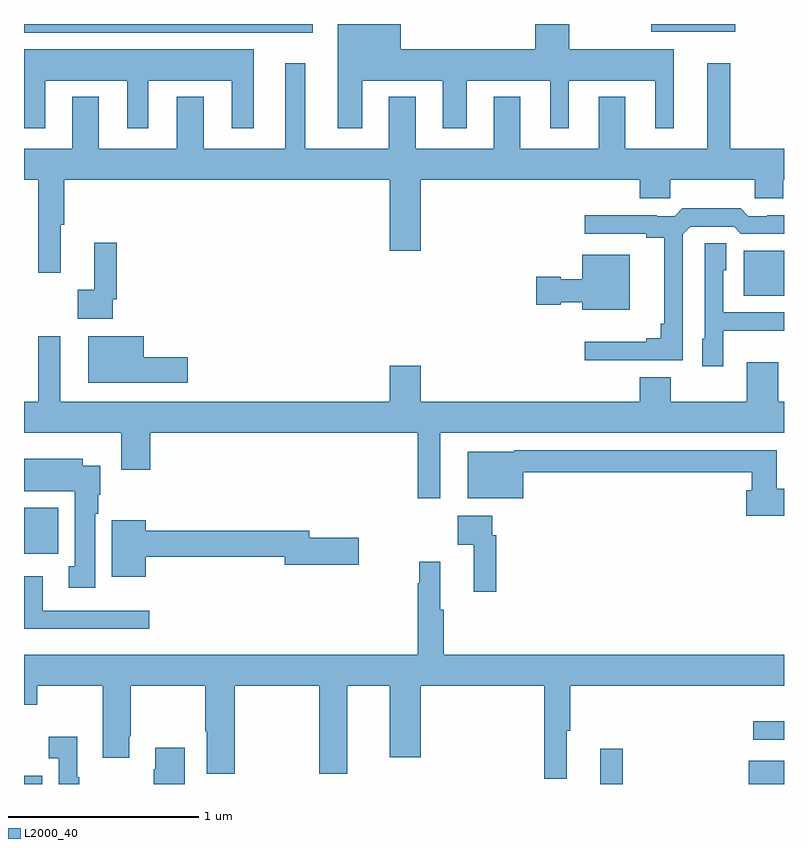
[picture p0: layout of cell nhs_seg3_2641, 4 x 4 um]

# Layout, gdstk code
import gdstk
lib = gdstk.Library(unit=1e-6, precision=1e-09)
def R(c, l, rs):  # rectangles x0, y0, x1, y1
    for r in rs: c.add(gdstk.rectangle(r[:2], r[2:], *l))
def P(c, l, *ps):  # polygons
    for p in ps: c.add(gdstk.Polygon(p, *l))
L2000_40 = (2000, 40)

nhs_seg3_2641 = lib.new_cell('nhs_seg3_2641')
R(nhs_seg3_2641, L2000_40, [(247,700.4,247.097,700.443), (250.034,700.4,250.151,700.585), (250.814,700.4,251,700.522), (250.839,700.632,251,700.73), (247,701.612,247.18,701.854), (250.787,702.971,251,703.207), (247,704.354,248.521,704.4), (250.302,704.36,250.744,704.4)])
P(nhs_seg3_2641, L2000_40, [(248.779,704.102),(249.203,704.102),(249.203,703.851),(249.331,703.851),(249.331,704.102),(249.77,704.102),(249.77,703.851),(249.868,703.851),(249.868,704.102),(250.322,704.102),(250.322,703.851),(250.42,703.851),(250.42,704.266),(249.87,704.266),(249.87,704.4),(249.692,704.4),(249.692,704.266),(248.983,704.266),(248.983,704.4),(248.651,704.4),(248.651,703.851),(248.779,703.851)],
  [(247.111,704.102),(247.544,704.102),(247.544,703.851),(247.654,703.851),(247.654,704.102),(248.093,704.102),(248.093,703.851),(248.209,703.851),(248.209,704.266),(247,704.266),(247,703.851),(247.111,703.851)],
  [(250.717,704.194),(250.595,704.194),(250.595,703.744),(250.165,703.744),(250.165,704.017),(250.025,704.017),(250.025,703.744),(249.613,703.744),(249.613,704.017),(249.473,704.017),(249.473,703.744),(249.061,703.744),(249.061,704.017),(248.921,704.017),(248.921,703.744),(248.479,703.744),(248.479,704.194),(248.375,704.194),(248.375,703.744),(247.945,703.744),(247.945,704.017),(247.805,704.017),(247.805,703.744),(247.393,703.744),(247.393,704.017),(247.253,704.017),(247.253,703.744),(247,703.744),(247,703.58),(247.075,703.58),(247.075,703.092),(247.193,703.092),(247.193,703.344),(247.211,703.344),(247.211,703.58),(248.924,703.58),(248.924,703.206),(249.088,703.206),(249.088,703.58),(250.241,703.58),(250.241,703.482),(250.401,703.482),(250.401,703.58),(250.846,703.58),(250.846,703.482),(250.996,703.482),(250.996,703.58),(251,703.58),(251,703.744),(250.717,703.744)],
  [(250.467,703.293),(250.506,703.332),(250.737,703.332),(250.773,703.296),(251,703.296),(251,703.394),(250.912,703.394),(250.912,703.389),(250.812,703.389),(250.773,703.429),(250.465,703.429),(250.425,703.389),(250.331,703.389),(250.331,703.394),(249.951,703.394),(249.951,703.296),(250.274,703.296),(250.274,703.274),(250.37,703.274),(250.37,702.823),(250.351,702.823),(250.351,702.746),(250.274,702.746),(250.274,702.727),(249.951,702.727),(249.951,702.63),(250.467,702.63)],
  [(247.467,702.952),(247.487,702.952),(247.487,703.249),(247.37,703.249),(247.37,703.001),(247.284,703.001),(247.284,702.848),(247.467,702.848)],
  [(250.68,702.785),(250.997,702.785),(250.997,702.786),(251,702.786),(251,702.882),(250.68,702.882),(250.68,703.104),(250.696,703.104),(250.696,703.247),(250.584,703.247),(250.584,702.744),(250.571,702.744),(250.571,702.6),(250.68,702.6)],
  [(250.189,703.186),(249.938,703.186),(249.938,703.057),(249.825,703.057),(249.825,703.07),(249.696,703.07),(249.696,702.923),(249.825,702.923),(249.825,702.935),(249.938,702.935),(249.938,702.896),(250.189,702.896)],
  [(247.861,702.647),(247.63,702.647),(247.63,702.757),(247.337,702.757),(247.337,702.512),(247.861,702.512)],
  [(249.19,702.248),(251,702.248),(251,702.412),(250.969,702.412),(250.969,702.619),(250.805,702.619),(250.805,702.412),(250.405,702.412),(250.405,702.541),(250.241,702.541),(250.241,702.412),(249.088,702.412),(249.088,702.601),(248.924,702.601),(248.924,702.412),(247.192,702.412),(247.192,702.757),(247.075,702.757),(247.075,702.412),(247,702.412),(247,702.248),(247.511,702.248),(247.511,702.054),(247.664,702.054),(247.664,702.248),(249.073,702.248),(249.073,701.904),(249.19,701.904)],
  [(251,701.955),(250.961,701.955),(250.961,702.156),(249.579,702.156),(249.579,702.148),(249.335,702.148),(249.335,701.903),(249.628,701.903),(249.628,702.04),(250.829,702.04),(250.829,701.947),(250.802,701.947),(250.802,701.813),(251,701.813)],
  [(247.375,701.822),(247.39,701.822),(247.39,701.922),(247.402,701.922),(247.402,702.076),(247.309,702.076),(247.309,702.112),(247,702.112),(247,701.942),(247.268,701.942),(247.268,701.546),(247.235,701.546),(247.235,701.433),(247.375,701.433)],
  [(249.485,701.708),(249.465,701.708),(249.465,701.812),(249.282,701.812),(249.282,701.66),(249.368,701.66),(249.368,701.412),(249.485,701.412)],
  [(247.642,701.596),(248.372,701.596),(248.372,701.554),(248.761,701.554),(248.761,701.696),(248.5,701.696),(248.5,701.732),(247.642,701.732),(247.642,701.788),(247.463,701.788),(247.463,701.492),(247.642,701.492)],
  [(249.857,700.68),(249.875,700.68),(249.875,700.916),(251,700.916),(251,701.08),(249.209,701.08),(249.209,701.316),(249.191,701.316),(249.191,701.569),(249.081,701.569),(249.081,701.456),(249.073,701.456),(249.073,701.08),(247,701.08),(247,700.817),(247.071,700.817),(247.071,700.916),(247.415,700.916),(247.415,700.539),(247.555,700.539),(247.555,700.651),(247.563,700.651),(247.563,700.916),(247.954,700.916),(247.954,700.678),(247.961,700.678),(247.961,700.455),(248.109,700.455),(248.109,700.916),(248.554,700.916),(248.554,700.455),(248.701,700.455),(248.701,700.916),(248.924,700.916),(248.924,700.542),(249.088,700.542),(249.088,700.916),(249.739,700.916),(249.739,700.428),(249.857,700.428)],
  [(247.66,701.313),(247.099,701.313),(247.099,701.494),(247,701.494),(247,701.216),(247.66,701.216)],
  [(247.291,700.435),(247.279,700.435),(247.279,700.648),(247.131,700.648),(247.131,700.535),(247.182,700.535),(247.182,700.4),(247.291,700.4)],
  [(247.846,700.591),(247.691,700.591),(247.691,700.478),(247.684,700.478),(247.684,700.4),(247.846,700.4)])

lib.write_gds('nhs_seg3_2641.gds')
